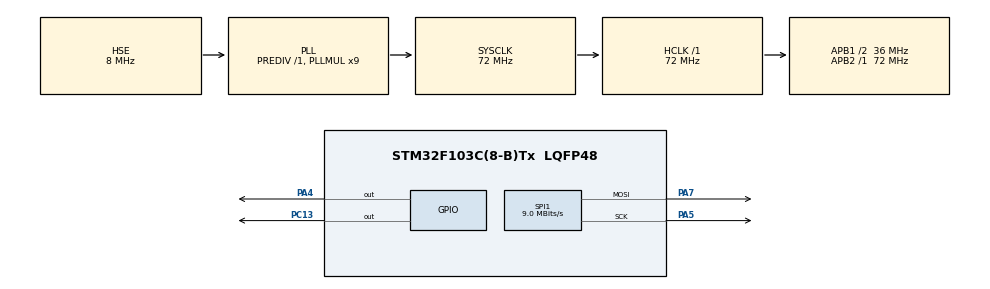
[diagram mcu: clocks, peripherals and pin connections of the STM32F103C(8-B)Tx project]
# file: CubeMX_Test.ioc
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Mcu.Family=STM32F1
Mcu.Name=STM32F103C(8-B)Tx
Mcu.Package=LQFP48
NVIC.PriorityGroup=NVIC_PRIORITYGROUP_4
PA13.Mode=Serial_Wire
PA13.Signal=SYS_JTMS-SWDIO
PA14.Mode=Serial_Wire
PA14.Signal=SYS_JTCK-SWCLK
PA4.Signal=GPIO_Output
PA5.Mode=TX_Only_Simplex_Unidirect_Master
PA5.Signal=SPI1_SCK
PA7.Mode=TX_Only_Simplex_Unidirect_Master
PA7.Signal=SPI1_MOSI
PC13-TAMPER-RTC.Signal=GPIO_Output
PD0-OSC_IN.Mode=HSE-External-Oscillator
PD0-OSC_IN.Signal=RCC_OSC_IN
PD1-OSC_OUT.Mode=HSE-External-Oscillator
PD1-OSC_OUT.Signal=RCC_OSC_OUT
ProjectManager.HeapSize=0x200
ProjectManager.StackSize=0x400
ProjectManager.TargetToolchain=MDK-ARM V5.32
RCC.AHBFreq_Value=72000000
RCC.APB1CLKDivider=RCC_HCLK_DIV2
RCC.APB1Freq_Value=36000000
RCC.APB1TimFreq_Value=72000000
RCC.APB2Freq_Value=72000000
RCC.APB2TimFreq_Value=72000000
RCC.HCLKFreq_Value=72000000
RCC.PLLMUL=RCC_PLL_MUL9
RCC.PLLSourceVirtual=RCC_PLLSOURCE_HSE
RCC.SYSCLKFreq_VALUE=72000000
RCC.SYSCLKSource=RCC_SYSCLKSOURCE_PLLCLK
RCC.USBFreq_Value=72000000
SPI1.BaudRatePrescaler=SPI_BAUDRATEPRESCALER_8
SPI1.CalculateBaudRate=9.0 MBits/s
SPI1.DataSize=SPI_DATASIZE_8BIT
SPI1.Direction=SPI_DIRECTION_2LINES
SPI1.Mode=SPI_MODE_MASTER
SPI1.VirtualType=VM_MASTER
board=custom

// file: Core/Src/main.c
/* USER CODE BEGIN Header */
/**
  ******************************************************************************
  * @file           : main.c
  * @brief          : Main program body
  ******************************************************************************
  * @attention
  *
  * Copyright (c) 2023 STMicroelectronics.
  * All rights reserved.
  *
  * This software is licensed under terms that can be found in the LICENSE file
  * in the root directory of this software component.
  * If no LICENSE file comes with this software, it is provided AS-IS.
  *
  ******************************************************************************
  */
/* USER CODE END Header */
#include "main.h"

/* USER CODE BEGIN Includes */
#include <stdbool.h>
/* USER CODE END Includes */

/* USER CODE BEGIN PD */
#define	CS_Set()		HAL_GPIO_WritePin(GPIOA, GPIO_PIN_4, GPIO_PIN_SET)
#define	CS_Reset()	HAL_GPIO_WritePin(GPIOA, GPIO_PIN_4, GPIO_PIN_RESET)
/* USER CODE END PD */

SPI_HandleTypeDef hspi1;

void SystemClock_Config(void);
static void MX_GPIO_Init(void);
static void MX_SPI1_Init(void);

/* USER CODE BEGIN 0 */
uint8_t decodeMode = 0;

void send_data(uint8_t addr, uint8_t data){
	CS_Set();
	HAL_SPI_Transmit(&hspi1, &addr, 1, 100);
	HAL_SPI_Transmit(&hspi1, &data, 1, 100);
	CS_Reset();
}

void max7219_Turn_On(void)
{
	send_data(0xC, 0x01);
}

void max7219_Clean()
{
	uint8_t clear = 0x00;

	if(decodeMode == 0xFF)
	{
		clear = 0xF;
	}

	for (int i = 0; i < 8; ++i)
	{
		send_data(i + 1, clear);
	}
}

void max7219_SetIntensivity(uint8_t intensivity)
{
	if (intensivity > 0x0F)
	{
		return;
	}

	send_data(0xA, intensivity);
}

void MAX_Config(void){
	max7219_Turn_On();
	send_data(0xB, 1);
	max7219_SetIntensivity(0xA);
	max7219_Clean();
}
/* USER CODE END 0 */

int main(void)
{

  /* MCU Configuration--------------------------------------------------------*/

  /* Reset of all peripherals, Initializes the Flash interface and the Systick. */
  HAL_Init();

  /* Configure the system clock */
  SystemClock_Config();

  /* Initialize all configured peripherals */
  MX_GPIO_Init();
  MX_SPI1_Init();
  /* USER CODE BEGIN 2 */
	MAX_Config();
  /* USER CODE END 2 */

  /* Infinite loop */
  while (1)
  {

    /* USER CODE BEGIN 3 */
		HAL_GPIO_TogglePin(GPIOC, GPIO_PIN_13);
		HAL_Delay(100);

  }
  /* USER CODE END 3 */
}

void SystemClock_Config(void)
{
  RCC_OscInitTypeDef RCC_OscInitStruct = {0};
  RCC_ClkInitTypeDef RCC_ClkInitStruct = {0};

  /** Initializes the RCC Oscillators according to the specified parameters
  * in the RCC_OscInitTypeDef structure.
  */
  RCC_OscInitStruct.OscillatorType = RCC_OSCILLATORTYPE_HSE;
  RCC_OscInitStruct.HSEState = RCC_HSE_ON;
  RCC_OscInitStruct.HSEPredivValue = RCC_HSE_PREDIV_DIV1;
  RCC_OscInitStruct.HSIState = RCC_HSI_ON;
  RCC_OscInitStruct.PLL.PLLState = RCC_PLL_ON;
  RCC_OscInitStruct.PLL.PLLSource = RCC_PLLSOURCE_HSE;
  RCC_OscInitStruct.PLL.PLLMUL = RCC_PLL_MUL9;
  if (HAL_RCC_OscConfig(&RCC_OscInitStruct) != HAL_OK)
  {
    Error_Handler();
  }

  /** Initializes the CPU, AHB and APB buses clocks
  */
  RCC_ClkInitStruct.ClockType = RCC_CLOCKTYPE_HCLK|RCC_CLOCKTYPE_SYSCLK
                              |RCC_CLOCKTYPE_PCLK1|RCC_CLOCKTYPE_PCLK2;
  RCC_ClkInitStruct.SYSCLKSource = RCC_SYSCLKSOURCE_PLLCLK;
  RCC_ClkInitStruct.AHBCLKDivider = RCC_SYSCLK_DIV1;
  RCC_ClkInitStruct.APB1CLKDivider = RCC_HCLK_DIV2;
  RCC_ClkInitStruct.APB2CLKDivider = RCC_HCLK_DIV1;

  if (HAL_RCC_ClockConfig(&RCC_ClkInitStruct, FLASH_LATENCY_2) != HAL_OK)
  {
    Error_Handler();
  }
}

static void MX_SPI1_Init(void)
{

  /* SPI1 parameter configuration*/
  hspi1.Instance = SPI1;
  hspi1.Init.Mode = SPI_MODE_MASTER;
  hspi1.Init.Direction = SPI_DIRECTION_2LINES;
  hspi1.Init.DataSize = SPI_DATASIZE_8BIT;
  hspi1.Init.CLKPolarity = SPI_POLARITY_LOW;
  hspi1.Init.CLKPhase = SPI_PHASE_1EDGE;
  hspi1.Init.NSS = SPI_NSS_SOFT;
  hspi1.Init.BaudRatePrescaler = SPI_BAUDRATEPRESCALER_8;
  hspi1.Init.FirstBit = SPI_FIRSTBIT_MSB;
  hspi1.Init.TIMode = SPI_TIMODE_DISABLE;
  hspi1.Init.CRCCalculation = SPI_CRCCALCULATION_DISABLE;
  hspi1.Init.CRCPolynomial = 10;
  if (HAL_SPI_Init(&hspi1) != HAL_OK)
  {
    Error_Handler();
  }

}

static void MX_GPIO_Init(void)
{
  GPIO_InitTypeDef GPIO_InitStruct = {0};

  /* GPIO Ports Clock Enable */
  __HAL_RCC_GPIOC_CLK_ENABLE();
  __HAL_RCC_GPIOD_CLK_ENABLE();
  __HAL_RCC_GPIOA_CLK_ENABLE();

  /*Configure GPIO pin Output Level */
  HAL_GPIO_WritePin(GPIOC, GPIO_PIN_13, GPIO_PIN_RESET);

  /*Configure GPIO pin Output Level */
  HAL_GPIO_WritePin(GPIOA, GPIO_PIN_4, GPIO_PIN_RESET);

  /*Configure GPIO pin : PC13 */
  GPIO_InitStruct.Pin = GPIO_PIN_13;
  GPIO_InitStruct.Mode = GPIO_MODE_OUTPUT_PP;
  GPIO_InitStruct.Pull = GPIO_NOPULL;
  GPIO_InitStruct.Speed = GPIO_SPEED_FREQ_LOW;
  HAL_GPIO_Init(GPIOC, &GPIO_InitStruct);

  /*Configure GPIO pin : PA4 */
  GPIO_InitStruct.Pin = GPIO_PIN_4;
  GPIO_InitStruct.Mode = GPIO_MODE_OUTPUT_PP;
  GPIO_InitStruct.Pull = GPIO_NOPULL;
  GPIO_InitStruct.Speed = GPIO_SPEED_FREQ_LOW;
  HAL_GPIO_Init(GPIOA, &GPIO_InitStruct);

}

/* USER CODE BEGIN 4 */
void HAL_GPIO_EXTI_Callback(uint16_t GPIO_Pin)
{
	HAL_GPIO_TogglePin(GPIOC, GPIO_PIN_13);
}
/* USER CODE END 4 */

void Error_Handler(void)
{
  __disable_irq();
  while (1)
  {
  }
}
